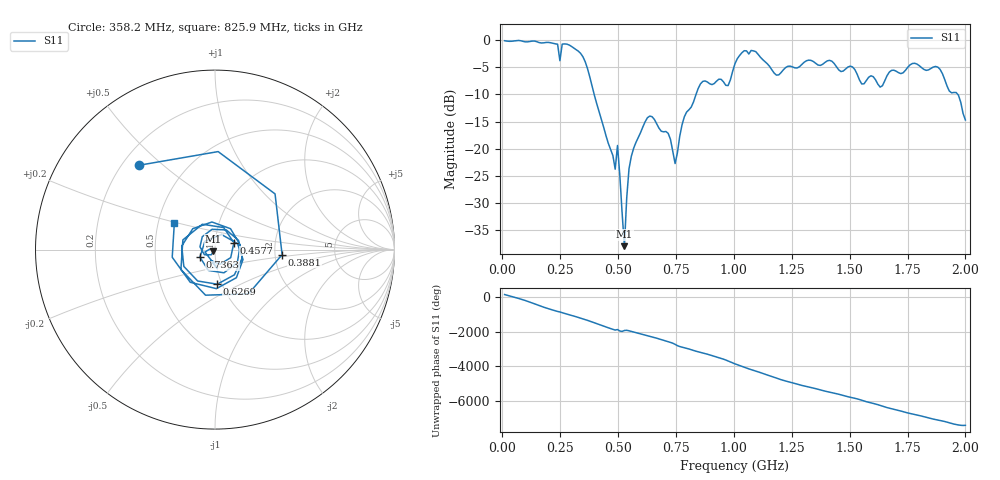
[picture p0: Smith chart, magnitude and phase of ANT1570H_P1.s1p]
!Created with skrf (http://scikit-rf.org).
# Hz S RI R 50.0
!freq ReS11 ImS11
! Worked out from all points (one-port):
!   201 points, 10 MHz to 2 GHz, reference 50 ohm
!   lowest |S11| = -38.0 dB at 527.4 MHz (marker M1), VSWR 1.03, Z = 49.1 - j0.864 ohm
!   |S11| at or under -10 dB: 396.9 MHz to 836.6 MHz (439.7 MHz wide, 71.3 % of centre); 1.967 GHz to end of sweep
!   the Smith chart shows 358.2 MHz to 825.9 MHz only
!   S11 on the Smith chart (normalised r, x): 358.2 MHz: 0.27, +0.42; 388.1 MHz: 2.19, -0.14; 457.8 MHz: 1.23, +0.10; 626.9 MHz: 0.95, -0.38; 736.4 MHz: 0.84, -0.07; 825.9 MHz: 0.61, +0.19
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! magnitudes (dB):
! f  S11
! 10 MHz  -0.1
! 238.8 MHz  -0.7
! 248.8 MHz  -3.8
! 258.8 MHz  -0.7
! 358.2 MHz  -4.0
! 388.1 MHz  -8.5
! 457.8 MHz  -19.0
! 487.6 MHz  -23.8
! 497.6 MHz  -19.4
! 507.5 MHz  -24.8
! 527.4 MHz  -38.0
! 547.3 MHz  -23.7
! 626.9 MHz  -14.3
! 736.4 MHz  -20.5
! 756.2 MHz  -20.8
! 786.1 MHz  -14.1
! 825.9 MHz  -11.4
! 865.7 MHz  -7.6
! 975.1 MHz  -8.4
! 1.005 GHz  -4.3
! 1.075 GHz  -1.9
! 1.184 GHz  -6.4
! 1.254 GHz  -4.9
! 1.502 GHz  -4.8
! 1.632 GHz  -8.6
! 1.751 GHz  -5.0
! 1.881 GHz  -4.9
! 2 GHz  -14.7
